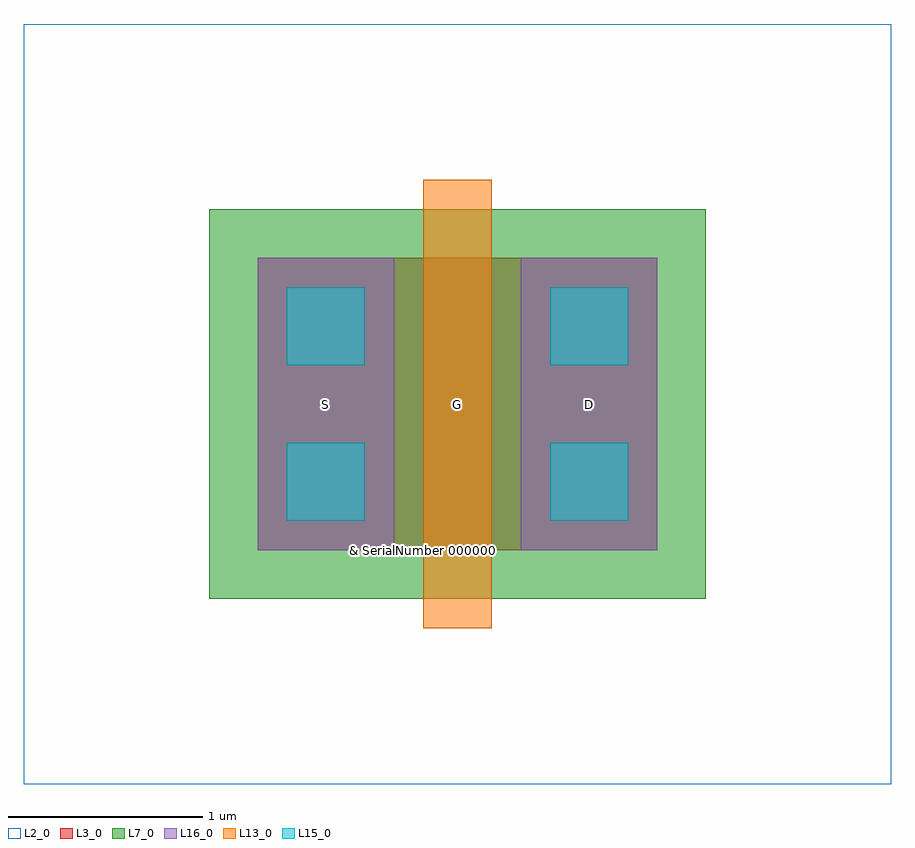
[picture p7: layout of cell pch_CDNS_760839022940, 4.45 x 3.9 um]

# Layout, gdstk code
import gdstk
lib = gdstk.Library(unit=1e-6, precision=1e-09)
def R(c, l, rs):  # rectangles x0, y0, x1, y1
    for r in rs: c.add(gdstk.rectangle(r[:2], r[2:], *l))
L2_0 = (2, 0)
L3_0 = (3, 0)
L7_0 = (7, 0)
L13_0 = (13, 0)
L15_0 = (15, 0)
L16_0 = (16, 0)

pch_cdns_760839022940 = lib.new_cell('pch_CDNS_760839022940')
R(pch_cdns_760839022940, L2_0, [(-2.05,-1.2,2.4,2.7)])
R(pch_cdns_760839022940, L3_0, [(-0.85,0,-0.15,1.5), (-0.85,0,-0.15,1.5), (-0.15,0,0.5,1.5), (0.5,0,1.2,1.5), (0.5,0,1.2,1.5)])
R(pch_cdns_760839022940, L7_0, [(-1.1,-0.25,1.45,1.75)])
R(pch_cdns_760839022940, L13_0, [(0,-0.4,0.35,1.9)])
R(pch_cdns_760839022940, L15_0, [(-0.7,0.15,-0.3,0.55), (0.65,0.15,1.05,0.55), (-0.7,0.95,-0.3,1.35), (0.65,0.95,1.05,1.35)])
R(pch_cdns_760839022940, L16_0, [(-0.85,0,-0.15,1.5), (0.5,0,1.2,1.5)])
pch_cdns_760839022940.add(gdstk.Label('D', (0.85,0.75), layer=59, texttype=0))
pch_cdns_760839022940.add(gdstk.Label('S', (-0.5,0.75), layer=59, texttype=0))
pch_cdns_760839022940.add(gdstk.Label('G', (0.175,0.75), layer=59, texttype=0))
pch_cdns_760839022940.add(gdstk.Label('& SerialNumber 000000', (0,0), layer=16, texttype=0))
pch_cdns_760839022940.add(gdstk.Label('& Distributor VIS', (0,0), layer=16, texttype=0))
pch_cdns_760839022940.add(gdstk.Label('& Metric 1', (0,0), layer=16, texttype=0))
pch_cdns_760839022940.add(gdstk.Label('& Version    \t  1.7A', (0,0), layer=16, texttype=0))
pch_cdns_760839022940.add(gdstk.Label('& PDKName     vis35cv', (0,0), layer=16, texttype=0))
pch_cdns_760839022940.add(gdstk.Label('& Vendor VIS Corp.', (0,0), layer=16, texttype=0))
pch_cdns_760839022940.add(gdstk.Label('& SerialNumber 000000', (0,0), layer=63, texttype=63))
pch_cdns_760839022940.add(gdstk.Label('& Distributor VIS', (0,0), layer=63, texttype=63))
pch_cdns_760839022940.add(gdstk.Label('& Metric 1', (0,0), layer=63, texttype=63))
pch_cdns_760839022940.add(gdstk.Label('& Version    \t  1.7A', (0,0), layer=63, texttype=63))
pch_cdns_760839022940.add(gdstk.Label('& PDKName     vis35cv', (0,0), layer=63, texttype=63))
pch_cdns_760839022940.add(gdstk.Label('& Vendor VIS Corp.', (0,0), layer=63, texttype=63))

lib.write_gds('pch_CDNS_760839022940.gds')
